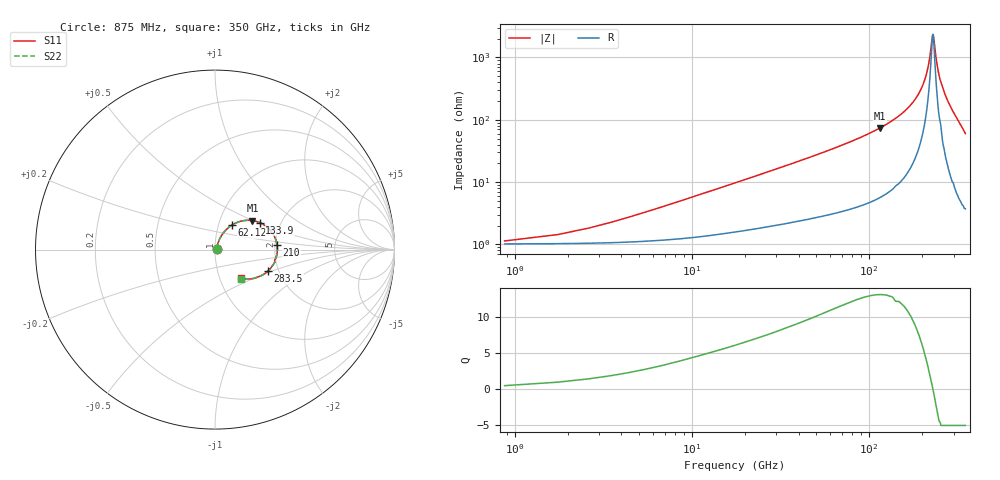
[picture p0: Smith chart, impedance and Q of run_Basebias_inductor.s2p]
#  Hz  S  RI  R  50
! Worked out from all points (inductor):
!   400 points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, 875 MHz to 350 GHz, reference 50 ohm
!   read as 1/Y11, port 2 shorted: L = 89.1 pH near 6.125 GHz
!   highest Q = 13.1 at 114.6 GHz (marker M1), where L = 101 pH
!   self-resonance near 229.5 GHz
!   S11 on the Smith chart (normalised r, x): 875 MHz: 1.02, +0.01; 62.12 GHz: 1.16, +0.33; 133.9 GHz: 1.56, +0.51; 210 GHz: 2.05, +0.13; 283.5 GHz: 1.76, -0.47; 350 GHz: 1.26, -0.42
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8.75e8  0.00998 0.00296  0.9898 -0.00692  0.9898 -0.00694  0.01 0.00293
5.25e9  0.0117 0.017  0.988 -0.0412  0.9879 -0.0412  0.0117 0.017
8.75e9  0.014 0.0275  0.985 -0.0679  0.985 -0.0678  0.014 0.0276
1.3125e10  0.0178 0.04  0.9802 -0.1002  0.9802 -0.1003  0.0179 0.0399
1.8375e10  0.0232 0.0535  0.973 -0.1381  0.973 -0.1381  0.0232 0.0537
2.5375e10  0.0318 0.0706  0.9613 -0.1871  0.9613 -0.1871  0.0317 0.0705
3.5e10  0.0454 0.0915  0.9414 -0.2521  0.9414 -0.2521  0.0453 0.0915
4.55e10  0.0626 0.1114  0.9151 -0.32  0.915 -0.32  0.0625 0.1114
5.95e10  0.0886 0.1331  0.8728 -0.4055  0.8728 -0.4054  0.0886 0.1332
6.2125e10  0.0938 0.1366  0.864 -0.4208  0.8641 -0.4208  0.0939 0.1366
8.575e10  0.1444 0.1583  0.7747 -0.5485  0.7747 -0.5486  0.1443 0.1584
1.14625e11  0.2089 0.1617  0.644 -0.6783  0.644 -0.6783  0.2089 0.1618
1.1725e11  0.2147 0.1607  0.6312 -0.6886  0.6313 -0.6887  0.2146 0.1609
1.33875e11  0.2495 0.1504  0.5471 -0.7484  0.5472 -0.7483  0.2495 0.1506
1.75875e11  0.3185 0.0943  0.3188 -0.8559  0.3188 -0.8559  0.3186 0.0947
2.1e11  0.3456 0.0275  0.1217 -0.8999  0.1217 -0.8999  0.3458 0.0279
2.33625e11  0.3456 -0.0234  -0.0188 -0.908  -0.019 -0.9078  0.3458 -0.0227
2.6075e11  0.3276 -0.0791  -0.1804 -0.8935  -0.1809 -0.8932  0.3276 -0.0784
2.835e11  0.2948 -0.1193  -0.3195 -0.8598  -0.3192 -0.8599  0.2958 -0.119
2.9225e11  0.2796 -0.1325  -0.3724 -0.8411  -0.3722 -0.8412  0.2804 -0.132
3.22875e11  0.2134 -0.1611  -0.5513 -0.7502  -0.5514 -0.7499  0.2145 -0.1608
3.5e11  0.1459 -0.1603  -0.6995 -0.6297  -0.699 -0.6309  0.1471 -0.1615
